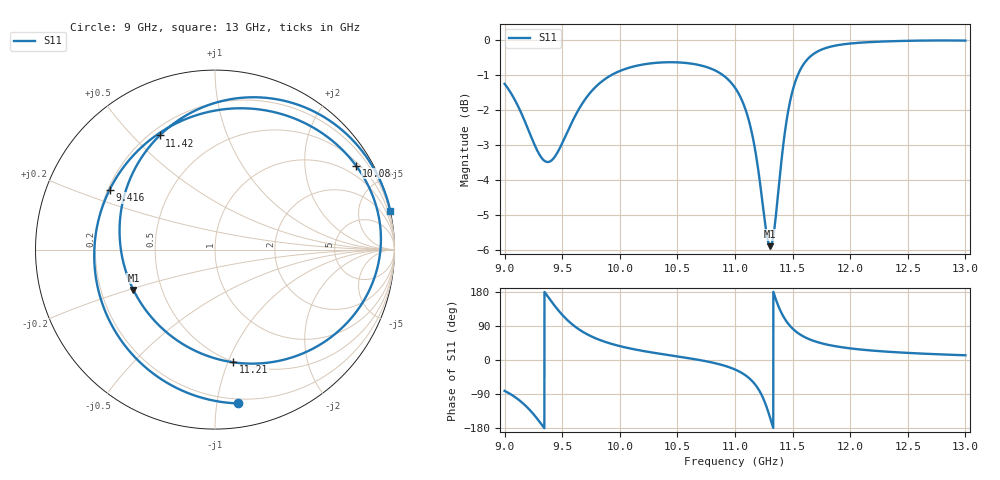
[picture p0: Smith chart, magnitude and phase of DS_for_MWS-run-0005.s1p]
! TOUCHSTONE file generated by CST DESIGN STUDIO
! Date and time: Tue Feb  4 18:27:25 2025
! Project name: C:\Work\MatlabApps\UnitCellOptimizationMatlab\CST\unitcell.cst
! Tree item: Tasks\Sweep1\SPara1\S-Parameters
! Header version: 2024
! Port assignment regex: !\s*Touchstone port\s*([0-9]+)\s*=\s*(CST MWS port|CST DES external port|CST DES block port)\s*(.+)\s* \(\"(.*)\"\)(\s*mode\s*([0-9]+))?.*
! Touchstone port assignment:
! Touchstone port 1 = CST DES external port 1 ("")
# GHz S MA R 50
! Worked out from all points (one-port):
!   4001 points, 9 GHz to 13 GHz, reference 50 ohm
!   lowest |S11| = -5.9 dB at 11.31 GHz (marker M1), VSWR 3.06, Z = 17.1 - j10.4 ohm
!   |S11| at or under -10 dB: nowhere
!   S11 on the Smith chart (normalised r, x): 9 GHz: 0.17, -1.15; 9.416 GHz: 0.21, +0.25; 10.08 GHz: 0.62, +3.53; 11.21 GHz: 0.50, -1.05; 11.42 GHz: 0.24, +0.60; 13 GHz: 0.02, +9.15
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9  0.8667 -81.5
9.107  0.811 -101.5
9.196  0.7516 -124.8
9.313  0.6817 -166.8
9.416  0.6752 150.5
9.5  0.7125 119.3
9.604  0.7748 89.9
9.74  0.8404 64.2
9.86  0.8776 49.1
10  0.9041 36.6
10.084  0.9143 30.8
10.5  0.9303 9.4
10.809  0.9087 -7.1
11  0.8557 -25.0
11.116  0.7725 -46.2
11.211  0.6362 -80.8
11.259  0.5504 -111.5
11.306  0.5072 -153.6
11.358  0.5673 157.1
11.418  0.7065 115.9
11.456  0.7826 98.1
11.5  0.8472 82.9
11.585  0.9191 63.7
11.686  0.9575 50.1
11.818  0.9786 39.4
12  0.99 30.7
12.5  0.9989 18.7
13  0.9995 12.5
